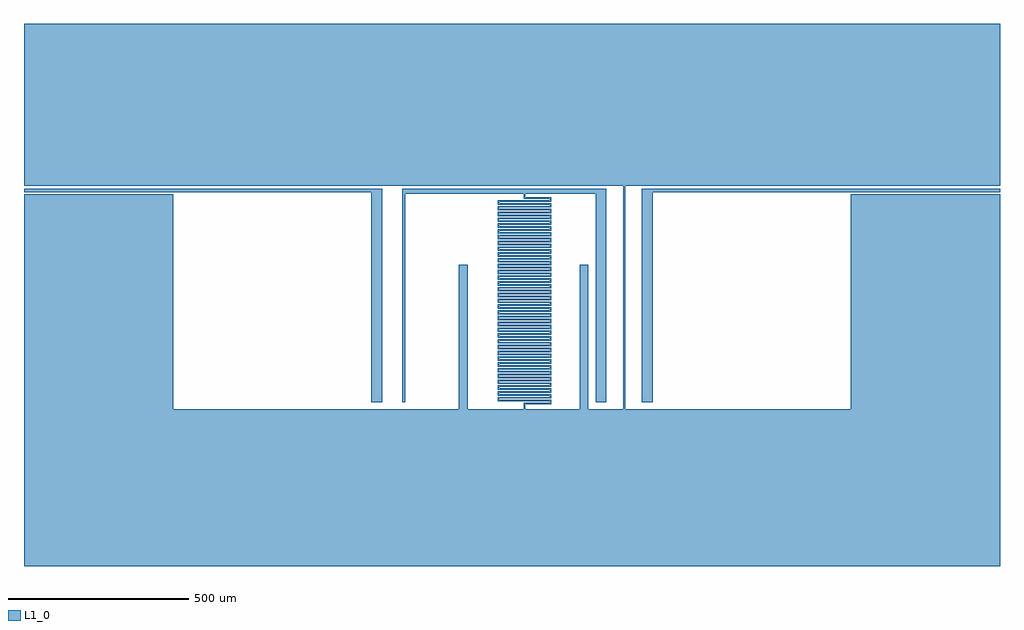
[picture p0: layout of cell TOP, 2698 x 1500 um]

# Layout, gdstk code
import gdstk
lib = gdstk.Library(unit=1e-6, precision=1e-09)
def R(c, l, rs):  # rectangles x0, y0, x1, y1
    for r in rs: c.add(gdstk.rectangle(r[:2], r[2:], *l))
def P(c, l, *ps):  # polygons
    for p in ps: c.add(gdstk.Polygon(p, *l))
L1_0 = (1, 0)

top = lib.new_cell('TOP')
R(top, L1_0, [(1202,434,1226,834), (1536,434,1560,834)])
P(top, L1_0, [(990,1044),(0,1044),(0,1034),(960,1034),(960,454),(990,454)],
  [(1738,1034),(2698,1034),(2698,1044),(1708,1044),(1708,454),(1738,454)],
  [(2698,1052),(2698,1500),(0,1500),(0,1052),(1656,1052),(1656,434),(412,434),(412,1028),(0,1028),(0,0),(2698,0),(2698,1028),(2286,1028),(2286,434),(1662,434),(1662,1052)],
  [(1046,454),(1054,454),(1054,1030),(1580,1030),(1580,454),(1610,454),(1610,1044),(1046,1044)],
  [(1386,448),(1458,448),(1458,460),(1314,460),(1314,464),(1458,464),(1458,476),(1314,476),(1314,480),(1458,480),(1458,492),(1314,492),(1314,496),(1458,496),(1458,508),(1314,508),(1314,512),(1458,512),(1458,524),(1314,524),(1314,528),(1458,528),(1458,540),(1314,540),(1314,544),(1458,544),(1458,556),(1314,556),(1314,560),(1458,560),(1458,572),(1314,572),(1314,576),(1458,576),(1458,588),(1314,588),(1314,592),(1458,592),(1458,604),(1314,604),(1314,608),(1458,608),(1458,620),(1314,620),(1314,624),(1458,624),(1458,636),(1314,636),(1314,640),(1458,640),(1458,652),(1314,652),(1314,656),(1458,656),(1458,668),(1314,668),(1314,672),(1458,672),(1458,684),(1314,684),(1314,688),(1458,688),(1458,700),(1314,700),(1314,704),(1458,704),(1458,716),(1314,716),(1314,720),(1458,720),(1458,732),(1314,732),(1314,736),(1310,736),(1310,728),(1454,728),(1454,724),(1310,724),(1310,712),(1454,712),(1454,708),(1310,708),(1310,696),(1454,696),(1454,692),(1310,692),(1310,680),(1454,680),(1454,676),(1310,676),(1310,664),(1454,664),(1454,660),(1310,660),(1310,648),(1454,648),(1454,644),(1310,644),(1310,632),(1454,632),(1454,628),(1310,628),(1310,616),(1454,616),(1454,612),(1310,612),(1310,600),(1454,600),(1454,596),(1310,596),(1310,584),(1454,584),(1454,580),(1310,580),(1310,568),(1454,568),(1454,564),(1310,564),(1310,552),(1454,552),(1454,548),(1310,548),(1310,536),(1454,536),(1454,532),(1310,532),(1310,520),(1454,520),(1454,516),(1310,516),(1310,504),(1454,504),(1454,500),(1310,500),(1310,488),(1454,488),(1454,484),(1310,484),(1310,472),(1454,472),(1454,468),(1310,468),(1310,456),(1454,456),(1454,452),(1382,452),(1382,434),(1386,434)],
  [(1458,748),(1314,748),(1314,752),(1458,752),(1458,764),(1314,764),(1314,768),(1458,768),(1458,780),(1314,780),(1314,784),(1458,784),(1458,796),(1314,796),(1314,800),(1458,800),(1458,812),(1314,812),(1314,816),(1458,816),(1458,828),(1314,828),(1314,832),(1458,832),(1458,844),(1314,844),(1314,848),(1458,848),(1458,860),(1314,860),(1314,864),(1458,864),(1458,876),(1314,876),(1314,880),(1458,880),(1458,892),(1314,892),(1314,896),(1458,896),(1458,908),(1314,908),(1314,912),(1458,912),(1458,924),(1314,924),(1314,928),(1458,928),(1458,940),(1314,940),(1314,944),(1458,944),(1458,956),(1314,956),(1314,960),(1458,960),(1458,972),(1314,972),(1314,976),(1458,976),(1458,988),(1314,988),(1314,992),(1458,992),(1458,1004),(1314,1004),(1314,1008),(1458,1008),(1458,1020),(1386,1020),(1386,1030),(1382,1030),(1382,1016),(1454,1016),(1454,1012),(1310,1012),(1310,1000),(1454,1000),(1454,996),(1310,996),(1310,984),(1454,984),(1454,980),(1310,980),(1310,968),(1454,968),(1454,964),(1310,964),(1310,952),(1454,952),(1454,948),(1310,948),(1310,936),(1454,936),(1454,932),(1310,932),(1310,920),(1454,920),(1454,916),(1310,916),(1310,904),(1454,904),(1454,900),(1310,900),(1310,888),(1454,888),(1454,884),(1310,884),(1310,872),(1454,872),(1454,868),(1310,868),(1310,856),(1454,856),(1454,852),(1310,852),(1310,840),(1454,840),(1454,836),(1310,836),(1310,824),(1454,824),(1454,820),(1310,820),(1310,808),(1454,808),(1454,804),(1310,804),(1310,792),(1454,792),(1454,788),(1310,788),(1310,776),(1454,776),(1454,772),(1310,772),(1310,760),(1454,760),(1454,756),(1310,756),(1310,744),(1454,744),(1454,740),(1310,740),(1310,736),(1458,736)])

lib.write_gds('TOP.gds')
